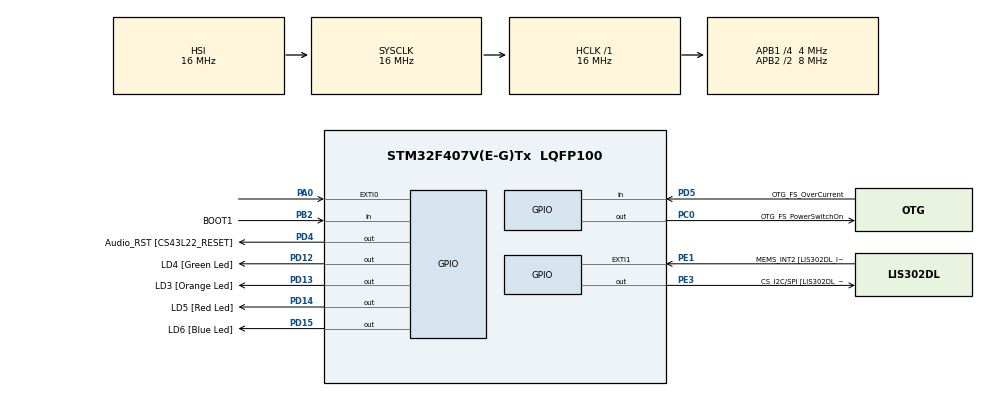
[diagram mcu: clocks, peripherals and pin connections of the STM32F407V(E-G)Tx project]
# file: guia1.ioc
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FREERTOS.Tasks01=defaultTask,24,128,StartDefaultTask,Default,NULL,Dynamic,NULL,NULL
FREERTOS.configUSE_NEWLIB_REENTRANT=1
Mcu.Family=STM32F4
Mcu.Name=STM32F407V(E-G)Tx
Mcu.Package=LQFP100
NVIC.EXTI0_IRQn=true\:5\:0\:false\:false\:true\:true\:true\:true\:true
NVIC.PriorityGroup=NVIC_PRIORITYGROUP_4
NVIC.TIM6_DAC_IRQn=true\:15\:0\:false\:false\:true\:false\:false\:true\:true
NVIC.TimeBase=TIM6_DAC_IRQn
NVIC.TimeBaseIP=TIM6
PA0-WKUP.Signal=GPXTI0
PA10.GPIO_Label=OTG_FS_ID
PA10.GPIO_Mode=GPIO_MODE_AF_PP
PA10.GPIO_PuPd=GPIO_NOPULL
PA10.GPIO_Speed=GPIO_SPEED_FREQ_LOW
PA10.Signal=USB_OTG_FS_ID
PA11.GPIO_Label=OTG_FS_DM
PA11.GPIO_Mode=GPIO_MODE_AF_PP
PA11.GPIO_PuPd=GPIO_NOPULL
PA11.GPIO_Speed=GPIO_SPEED_FREQ_LOW
PA11.Signal=USB_OTG_FS_DM
PA12.GPIO_Label=OTG_FS_DP
PA12.GPIO_Mode=GPIO_MODE_AF_PP
PA12.GPIO_PuPd=GPIO_NOPULL
PA12.GPIO_Speed=GPIO_SPEED_FREQ_LOW
PA12.Signal=USB_OTG_FS_DP
PA13.GPIO_Label=SWDIO
PA13.Mode=Serial_Wire
PA13.Signal=SYS_JTMS-SWDIO
PA14.GPIO_Label=SWCLK
PA14.Mode=Serial_Wire
PA14.Signal=SYS_JTCK-SWCLK
PA4.GPIO_Label=I2S3_WS [CS43L22_LRCK]
PA4.GPIO_Mode=GPIO_MODE_AF_PP
PA4.GPIO_PuPd=GPIO_NOPULL
PA4.GPIO_Speed=GPIO_SPEED_FREQ_LOW
PA4.Signal=I2S3_WS
PA5.GPIO_Label=SPI1_SCK [LIS302DL_SCL/SPC]
PA5.GPIO_Mode=GPIO_MODE_AF_PP
PA5.GPIO_PuPd=GPIO_NOPULL
PA5.GPIO_Speed=GPIO_SPEED_FREQ_LOW
PA5.Signal=SPI1_SCK
PA6.GPIO_Label=SPI1_MISO [LIS302DL_SDO]
PA6.GPIO_Mode=GPIO_MODE_AF_PP
PA6.GPIO_PuPd=GPIO_NOPULL
PA6.GPIO_Speed=GPIO_SPEED_FREQ_LOW
PA6.Signal=SPI1_MISO
PA7.GPIO_Label=SPI1_MOSI [LIS302DL_SDA/SDI/SDO]
PA7.GPIO_Mode=GPIO_MODE_AF_PP
PA7.GPIO_PuPd=GPIO_NOPULL
PA7.GPIO_Speed=GPIO_SPEED_FREQ_LOW
PA7.Signal=SPI1_MOSI
PA9.GPIO_Label=VBUS_FS
PA9.GPIO_Mode=GPIO_MODE_INPUT
PA9.GPIO_PuPd=GPIO_NOPULL
PA9.Signal=USB_OTG_FS_VBUS
PB10.GPIO_Label=CLK_IN [MP45DT02_CLK]
PB10.GPIO_Mode=GPIO_MODE_AF_PP
PB10.GPIO_PuPd=GPIO_NOPULL
PB10.GPIO_Speed=GPIO_SPEED_FREQ_LOW
PB10.Signal=I2S2_CK
PB2.GPIO_Label=BOOT1
PB2.GPIO_Mode=GPIO_MODE_INPUT
PB2.GPIO_PuPd=GPIO_NOPULL
PB2.Signal=GPIO_Input
PB3.GPIO_Label=SWO
PB3.Signal=SYS_JTDO-SWO
PB6.GPIO_Label=Audio_SCL [CS43L22_SCL]
PB6.GPIO_Mode=GPIO_MODE_AF_OD
PB6.GPIO_PuPd=GPIO_NOPULL
PB6.GPIO_Speed=GPIO_SPEED_FREQ_LOW
PB6.Signal=I2C1_SCL
PB9.GPIO_Label=Audio_SDA [CS43L22_SDA]
PB9.GPIO_Mode=GPIO_MODE_AF_OD
PB9.GPIO_PuPd=GPIO_NOPULL
PB9.GPIO_Speed=GPIO_SPEED_FREQ_LOW
PB9.Signal=I2C1_SDA
PC0.GPIO_Label=OTG_FS_PowerSwitchOn
PC0.GPIO_PuPd=GPIO_NOPULL
PC0.GPIO_Speed=GPIO_SPEED_FREQ_LOW
PC0.PinState=GPIO_PIN_SET
PC0.Signal=GPIO_Output
PC10.GPIO_Label=I2S3_SCK [CS43L22_SCLK]
PC10.GPIO_Mode=GPIO_MODE_AF_PP
PC10.GPIO_PuPd=GPIO_NOPULL
PC10.GPIO_Speed=GPIO_SPEED_FREQ_LOW
PC10.Signal=I2S3_CK
PC12.GPIO_Label=I2S3_SD [CS43L22_SDIN]
PC12.GPIO_Mode=GPIO_MODE_AF_PP
PC12.GPIO_PuPd=GPIO_NOPULL
PC12.GPIO_Speed=GPIO_SPEED_FREQ_LOW
PC12.Signal=I2S3_SD
PC14-OSC32_IN.GPIO_Label=PC14-OSC32_IN
PC14-OSC32_IN.Signal=RCC_OSC32_IN
PC15-OSC32_OUT.GPIO_Label=PC15-OSC32_OUT
PC15-OSC32_OUT.Signal=RCC_OSC32_OUT
PC3.GPIO_Label=PDM_OUT [MP45DT02_DOUT]
PC3.GPIO_Mode=GPIO_MODE_AF_PP
PC3.GPIO_PuPd=GPIO_NOPULL
PC3.GPIO_Speed=GPIO_SPEED_FREQ_LOW
PC3.Signal=I2S2_SD
PC7.GPIO_Label=I2S3_MCK [CS43L22_MCLK]
PC7.GPIO_Mode=GPIO_MODE_AF_PP
PC7.GPIO_PuPd=GPIO_NOPULL
PC7.GPIO_Speed=GPIO_SPEED_FREQ_LOW
PC7.Signal=I2S3_MCK
PD12.GPIO_Label=LD4 [Green Led]
PD12.GPIO_PuPd=GPIO_NOPULL
PD12.GPIO_Speed=GPIO_SPEED_FREQ_LOW
PD12.Signal=GPIO_Output
PD13.GPIO_Label=LD3 [Orange Led]
PD13.GPIO_PuPd=GPIO_NOPULL
PD13.GPIO_Speed=GPIO_SPEED_FREQ_LOW
PD13.Signal=GPIO_Output
PD14.GPIO_Label=LD5 [Red Led]
PD14.GPIO_PuPd=GPIO_NOPULL
PD14.GPIO_Speed=GPIO_SPEED_FREQ_LOW
PD14.Signal=GPIO_Output
PD15.GPIO_Label=LD6 [Blue Led]
PD15.GPIO_PuPd=GPIO_NOPULL
PD15.GPIO_Speed=GPIO_SPEED_FREQ_LOW
PD15.Signal=GPIO_Output
PD4.GPIO_Label=Audio_RST [CS43L22_RESET]
PD4.GPIO_PuPd=GPIO_NOPULL
PD4.GPIO_Speed=GPIO_SPEED_FREQ_LOW
PD4.Signal=GPIO_Output
PD5.GPIO_Label=OTG_FS_OverCurrent
PD5.GPIO_Mode=GPIO_MODE_INPUT
PD5.GPIO_PuPd=GPIO_NOPULL
PD5.Signal=GPIO_Input
PE1.GPIO_Label=MEMS_INT2 [LIS302DL_INT2]
PE1.GPIO_ModeDefaultEXTI=GPIO_MODE_EVT_RISING
PE1.GPIO_PuPd=GPIO_NOPULL
PE1.Signal=GPXTI1
PE3.GPIO_Label=CS_I2C/SPI [LIS302DL_CS_I2C/SPI]
PE3.GPIO_PuPd=GPIO_NOPULL
PE3.GPIO_Speed=GPIO_SPEED_FREQ_LOW
PE3.Signal=GPIO_Output
PH0-OSC_IN.GPIO_Label=PH0-OSC_IN
PH0-OSC_IN.Signal=RCC_OSC_IN
PH1-OSC_OUT.GPIO_Label=PH1-OSC_OUT
PH1-OSC_OUT.Signal=RCC_OSC_OUT
ProjectManager.HeapSize=0x200
ProjectManager.StackSize=0x400
ProjectManager.TargetToolchain=STM32CubeIDE
RCC.48MHZClocksFreq_Value=14285714.285714285
RCC.AHBFreq_Value=16000000
RCC.APB1CLKDivider=RCC_HCLK_DIV4
RCC.APB1Freq_Value=4000000
RCC.APB1TimFreq_Value=8000000
RCC.APB2CLKDivider=RCC_HCLK_DIV2
RCC.APB2Freq_Value=8000000
RCC.APB2TimFreq_Value=16000000
RCC.CortexFreq_Value=16000000
RCC.HCLKFreq_Value=16000000
RCC.HSE_VALUE=8000000
RCC.HSI_VALUE=16000000
RCC.LSE_VALUE=32768
RCC.PLLM=8
RCC.PLLN=50
RCC.PLLP=RCC_PLLP_DIV4
RCC.PLLQ=7
RCC.SYSCLKFreq_VALUE=16000000
RCC.VCOOutputFreq_Value=100000000
VP_FREERTOS_VS_CMSIS_V2.Mode=CMSIS_V2
VP_SYS_VS_tim6.Mode=TIM6
board=STM32F407G-DISC1

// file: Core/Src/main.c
/* USER CODE BEGIN Header */
/**
  ******************************************************************************
  * @file           : main.c
  * @brief          : Main program body
  ******************************************************************************
  * @attention
  *
  * Copyright (c) 2026 STMicroelectronics.
  * All rights reserved.
  *
  * This software is licensed under terms that can be found in the LICENSE file
  * in the root directory of this software component.
  * If no LICENSE file comes with this software, it is provided AS-IS.
  *
  ******************************************************************************
  */
/* USER CODE END Header */
#include "main.h"
//#include "cmsis_os.h"
#include "FreeRTOS.h"
#include "task.h"
#include "gpio.h"
#include "semphr.h"
#include "queue.h"

void SystemClock_Config(void);
//void MX_FREERTOS_Init(void);

/* USER CODE BEGIN 0 */

static QueueHandle_t xLedQueue;

void vQueueHandler(void * pvParameters)
{
	typeof(GPIO_PIN_12) val;
	while(1)
	{

		if(xQueueReceive(xLedQueue, &val, portMAX_DELAY) == pdPASS)
		{
			HAL_GPIO_TogglePin(GPIOD, val);
		}
	}
}

void  vSenderTask(void * pvParameters)
{
	typeof(GPIO_PIN_12) pin1 = GPIO_PIN_12;
	typeof(GPIO_PIN_13) pin2 = GPIO_PIN_13;
//	typeof(GPIO_PIN_14) pin3 = GPIO_PIN_14;
//	typeof(GPIO_PIN_15) pin4 = GPIO_PIN_15;
	while(1)
	{
		xQueueSend(xLedQueue, &pin1, 0);
		vTaskDelay(pdMS_TO_TICKS(200));
		xQueueSend(xLedQueue, &pin1, 0);
		vTaskDelay(pdMS_TO_TICKS(200));
		xQueueSend(xLedQueue, &pin1, 0);
		xQueueSend(xLedQueue, &pin2, 0);
		vTaskDelay(pdMS_TO_TICKS(200));
		xQueueSend(xLedQueue, &pin1, 0);
		vTaskDelay(pdMS_TO_TICKS(200));
		xQueueSend(xLedQueue, &pin1, 0);
		xQueueSend(xLedQueue, &pin2, 0);
		vTaskDelay(pdMS_TO_TICKS(200));
	}
}

/* USER CODE END 0 */

int main(void)
{

  /* MCU Configuration--------------------------------------------------------*/

  /* Reset of all peripherals, Initializes the Flash interface and the Systick. */
  HAL_Init();

  /* Configure the system clock */
//  SystemClock_Config();

  /* Initialize all configured peripherals */
  MX_GPIO_Init();

  /* Init scheduler */
//  osKernelInitialize();  /* Call init function for freertos objects (in cmsis_os2.c) */
//  MX_FREERTOS_Init();

  /* Start scheduler */
//  osKernelStart();
  xLedQueue = xQueueCreate(5, sizeof(typeof(GPIO_PIN_12)));
  xTaskCreate(vQueueHandler, "Control", 128, NULL, 1, NULL);
  xTaskCreate(vSenderTask, "Sender", 128, NULL, 1, NULL);
  /* We should never get here as control is now taken by the scheduler */
  vTaskStartScheduler();

  /* Infinite loop */
  while (1)
  {

  }
}

void SystemClock_Config(void)
{
  RCC_OscInitTypeDef RCC_OscInitStruct = {0};
  RCC_ClkInitTypeDef RCC_ClkInitStruct = {0};

  /** Configure the main internal regulator output voltage
  */
  __HAL_RCC_PWR_CLK_ENABLE();
  __HAL_PWR_VOLTAGESCALING_CONFIG(PWR_REGULATOR_VOLTAGE_SCALE1);

  /** Initializes the RCC Oscillators according to the specified parameters
  * in the RCC_OscInitTypeDef structure.
  */
  RCC_OscInitStruct.OscillatorType = RCC_OSCILLATORTYPE_HSI;
  RCC_OscInitStruct.HSIState = RCC_HSI_ON;
  RCC_OscInitStruct.HSICalibrationValue = RCC_HSICALIBRATION_DEFAULT;
  RCC_OscInitStruct.PLL.PLLState = RCC_PLL_NONE;
  if (HAL_RCC_OscConfig(&RCC_OscInitStruct) != HAL_OK)
  {
    Error_Handler();
  }

  /** Initializes the CPU, AHB and APB buses clocks
  */
  RCC_ClkInitStruct.ClockType = RCC_CLOCKTYPE_HCLK|RCC_CLOCKTYPE_SYSCLK
                              |RCC_CLOCKTYPE_PCLK1|RCC_CLOCKTYPE_PCLK2;
  RCC_ClkInitStruct.SYSCLKSource = RCC_SYSCLKSOURCE_HSI;
  RCC_ClkInitStruct.AHBCLKDivider = RCC_SYSCLK_DIV1;
  RCC_ClkInitStruct.APB1CLKDivider = RCC_HCLK_DIV4;
  RCC_ClkInitStruct.APB2CLKDivider = RCC_HCLK_DIV2;

  if (HAL_RCC_ClockConfig(&RCC_ClkInitStruct, FLASH_LATENCY_0) != HAL_OK)
  {
    Error_Handler();
  }
}

void HAL_TIM_PeriodElapsedCallback(TIM_HandleTypeDef *htim)
{
  if (htim->Instance == TIM6)
  {
    HAL_IncTick();
  }
}

void Error_Handler(void)
{
  __disable_irq();
  while (1)
  {
  }
}
